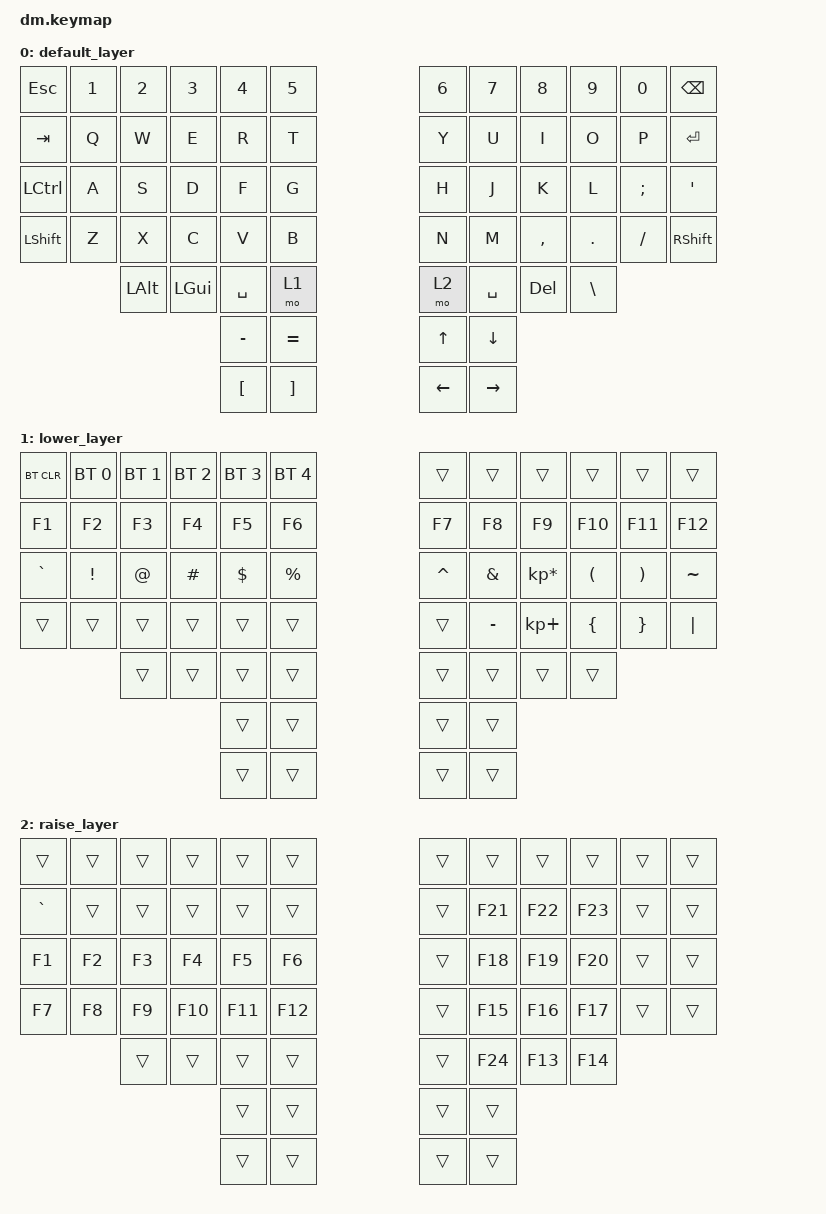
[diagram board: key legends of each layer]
#include <behaviors.dtsi>
#include <dt-bindings/zmk/keys.h>
#include <dt-bindings/zmk/bt.h>
#include <dt-bindings/zmk/ext_power.h>

/ {
	keymap {
		compatible = "zmk,keymap";

		default_layer {
// ------------------------------------------------------------------------------------------------------------
// |  ESC  |  1  |  2  |  3   |  4   |  5   |                   |  6   |  7    |  8    |  9   |   0   |   `   |
// |  TAB  |  Q  |  W  |  E   |  R   |  T   |                   |  Y   |  U    |  I    |  O   |   P   |   -   |
// |  CTRL |  A  |  S  |  D   |  F   |  G   |                   |  H   |  J    |  K    |  L   |   ;   |   '   |
// | SHIFT |  Z  |  X  |  C   |  V   |  B   |     			    |  N   |  M    |  ,    |  .   |   /   | SHIFT |
//               | GUI | ALT  |LOWER |SPACE |  					| SPACE| RAISE | DEL  | TILDE |
//							  |MINUS |EQUAL |					|  UP  | DOWN  |
//							  | LBRC | RBRC |					| LEFT | RIGHT |
			bindings = <
&kp ESC   &kp N1 &kp N2 &kp N3   &kp N4   &kp N5                     &kp N6 &kp N7   &kp N8    &kp N9  &kp N0   &kp BSPC
&kp TAB   &kp Q  &kp W  &kp E    &kp R    &kp T                      &kp Y  &kp U    &kp I     &kp O   &kp P    &kp RET
&kp LCTRL &kp A  &kp S  &kp D    &kp F    &kp G                      &kp H  &kp J    &kp K     &kp L   &kp SEMI &kp SQT
&kp LSHFT &kp Z  &kp X  &kp C    &kp V    &kp B  					 &kp N  &kp M    &kp COMMA &kp DOT &kp FSLH &kp RSHFT
                 &kp LALT &kp LGUI &kp SPACE  &mo 1  				 &mo 2  &kp SPACE  &kp DEL &kp BSLH
									&kp MINUS &kp EQUAL				 &kp UP &kp DOWN
									&kp LBKT &kp RBKT				 &kp LEFT &kp RIGHT
			>;
		};

		lower_layer {
// ------------------------------------------------------------------------------------------------------------
// | BTCLR | BT1 | BT2 |  BT3 |  BT4 |  BT5 |                   |      |       |       |      |       |       |
// |  F1   |  F2 |  F3 |  F4  |  F5  |  F6  |                   |  F7  |  F8   |  F9   |  F10 |  F11  |  F12  |
// |   `   |  !  |  @  |  #   |  $   |  %   |                   |  ^   |  &    |  *    |  (   |   )   |   ~   |
// |       |     |     |      |      |      |        |  |       |      |  _    |  +    |  {   |   }   |  "|"  |
//                     |      |      |      |        |  |       |      |       |       |
			bindings = <
&bt BT_CLR &bt BT_SEL 0     &bt BT_SEL 1      &bt BT_SEL 2      &bt BT_SEL 3 &bt BT_SEL 4                 &trans    &trans    &trans          &trans    &trans    &trans
&kp F1     &kp F2           &kp F3            &kp F4            &kp F5       &kp F6                       &kp F7    &kp F8    &kp F9          &kp F10   &kp F11   &kp F12
&kp GRAVE  &kp EXCL         &kp AT            &kp HASH          &kp DOLLAR   &kp PRCNT                    &kp CARET &kp AMPS  &kp KP_MULTIPLY &kp LPAR  &kp RPAR  &kp TILDE
&trans     &trans			&trans			  &trans			&trans       &trans    				      &trans    &kp MINUS &kp KP_PLUS     &kp LBRC  &kp RBRC  &kp PIPE
                            &trans            &trans       &trans    	 	 &trans    					  &trans    &trans    &trans          &trans
														   &trans    	 	 &trans    					  &trans    &trans
														   &trans    	 	 &trans    					  &trans    &trans
			>;
		};

		raise_layer {
// ------------------------------------------------------------------------------------------------------------
// |       |     |     |      |      |      |                   |      |       |       |      |       |       |
// |   `   |  1  |  2  |  3   |  4   |  5   |                   |  6   |   7   |   8   |  9   |   0   |       |
// |   F1  |  F2 |  F3 |  F4  |  F5  |  F6  |                   |      |   <-  |   v   |  ^   |  ->   |       |
// |   F7  |  F8 |  F9 |  F10 |  F11 |  F12 |        |  |       |  +   |   -   |   =   |  [   |   ]   |   \   |
//                     |      |      |      |        |  |       |      |       |       |
			bindings = <
&trans    &trans &trans &trans  &trans  &trans                       &trans      &trans    &trans    &trans    &trans    &trans
&kp GRAVE &trans &trans &trans  &trans  &trans                       &trans      &kp F21 &kp F22 &kp F23 &trans    &trans
&kp F1    &kp F2 &kp F3 &kp F4  &kp F5  &kp F6                       &trans      &kp F18 &kp F19 &kp F20 &trans    &trans
&kp F7    &kp F8 &kp F9 &kp F10 &kp F11 &kp F12 		     &trans      &kp F15 &kp F16 &kp F17 &trans    &trans
                 &trans &trans  &trans  &trans   		     &trans      &kp F24 &kp F13 &kp F14
								&trans  &trans   					 &trans      &trans
								&trans  &trans   					 &trans      &trans
			>;
		};
	};
};
